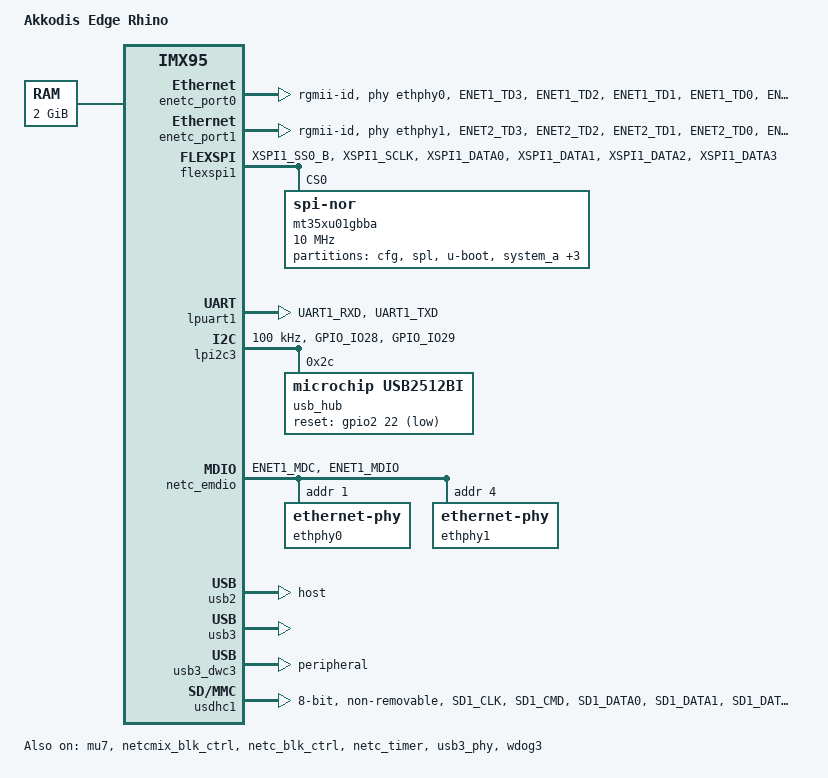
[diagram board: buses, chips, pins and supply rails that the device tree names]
// SPDX-License-Identifier: (GPL-2.0+ OR MIT)
/*
 * Copyright 2026 Akkodis Edge
 */

/dts-v1/;

#include "imx95.dtsi"

#define FALLING_EDGE			1
#define RISING_EDGE			2

#define BRD_SM_CTRL_SD3_WAKE		0x8000	/* PCAL6408A-0 */
#define BRD_SM_CTRL_PCIE1_WAKE		0x8001	/* PCAL6408A-4 */
#define BRD_SM_CTRL_BT_WAKE		0x8002	/* PCAL6408A-5 */
#define BRD_SM_CTRL_PCIE2_WAKE		0x8003	/* PCAL6408A-6 */
#define BRD_SM_CTRL_BUTTON		0x8004	/* PCAL6408A-7 */

/ {
	model = "Akkodis Edge Rhino";
	compatible = "ake,rhino", "fsl,imx95";

	chosen {
		stdout-path = &lpuart1;
	};

	memory@80000000 {
		device_type = "memory";
		reg = <0x0 0x80000000 0 0x80000000>;
	};
};

&enetc_port0 {
	pinctrl-names = "default";
	pinctrl-0 = <&pinctrl_enetc0>;
	phy-handle = <&ethphy0>;
	phy-mode = "rgmii-id";
	status = "okay";
};

&enetc_port1 {
	pinctrl-names = "default";
	pinctrl-0 = <&pinctrl_enetc1>;
	phy-handle = <&ethphy1>;
	phy-mode = "rgmii-id";
	status = "okay";
};

&flexspi1 {
	pinctrl-names = "default";
	pinctrl-0 = <&pinctrl_flexspi1>;
	status = "okay";

	mt35xu01gbba: flash@0 {
		reg = <0>;
		#address-cells = <1>;
		#size-cells = <1>;
		compatible = "jedec,spi-nor";

		spi-max-frequency = <10000000>;
		spi-tx-bus-width = <1>;
		spi-rx-bus-width = <1>;

		partitions {
			compatible = "fixed-partitions";
			#address-cells = <1>;
			#size-cells = <1>;

			cfg@0 {
				/*
				 * 0x0 OFTAD key blob
				 * 0x400 FlexSPI Config Block
				 */
				label = "cfg";
				reg = <0x000000 0x001000>;
			};
			spl@1000 {
				label = "spl";
				reg = <0x001000 0x1ff000>;
			};
			u-boot@200000 {
				label = "u-boot";
				reg = <0x200000 0x200000>;
			};
			system_a@400000 {
				label = "system_a";
				reg = <0x400000 0x010000>;
			};
			system_b@410000 {
				label = "system_b";
				reg = <0x410000 0x010000>;
			};
			user_a@420000 {
				label = "user_a";
				reg = <0x420000 0x010000>;
			};
			user_b@430000 {
				label = "user_b";
				reg = <0x430000 0x010000>;
			};
		};
	};
};

&lpuart1 {
	/* console */
	pinctrl-names = "default";
	pinctrl-0 = <&pinctrl_uart1>;
	status = "okay";
};

&lpi2c3 {
	clock-frequency = <100000>;
	pinctrl-names = "default";
	pinctrl-0 = <&pinctrl_lpi2c3>;
	status = "okay";

	usb_hub: usb2512bi@2c {
		reg = <0x2c>;
		compatible = "microchip,usb2512bi";
		pinctrl-names = "default";
		pinctrl-0 = <&pinctrl_hub>;
		reset-gpios = <&gpio2 22 GPIO_ACTIVE_LOW>;
	};
};

&mu7 {
	status = "okay";
};

&netcmix_blk_ctrl {
	status = "okay";
};

&netc_blk_ctrl {
	status = "okay";
};

&netc_emdio {
	pinctrl-names = "default";
	pinctrl-0 = <&pinctrl_emdio>;
	status = "okay";

	ethphy0: ethernet-phy@1 {
		reg = <1>;
		eee-broken-1000t;
		reset-assert-us = <10000>;
		reset-deassert-us = <80000>;
	};

	ethphy1: ethernet-phy@4 {
		reg = <4>;
		eee-broken-1000t;
		reset-assert-us = <10000>;
		reset-deassert-us = <80000>;
	};
};

&netc_timer {
	status = "okay";
};

&usb2 {
	dr_mode = "host";
	disable-over-current;
	status = "okay";
	/delete-property/power-domains;
};

&usb3 {
	status = "okay";
	/delete-property/power-domains;
};

&usb3_dwc3 {
	compatible = "fsl,imx95a-dwc3", "fsl,imx8mq-dwc3", "snps,dwc3";
	dr_mode = "peripheral";
	hnp-disable;
	srp-disable;
	adp-disable;
	usb-role-switch;
	role-switch-default-mode = "none";
	snps,dis-u1-entry-quirk;
	snps,dis-u2-entry-quirk;
	status = "okay";
};

&usb3_phy {
	fsl,phy-pcs-tx-deemph-3p5db-attenuation-db = <17>;
	fsl,phy-pcs-tx-swing-full-percent = <100>;
	fsl,phy-tx-preemp-amp-tune-microamp = <600>;
	fsl,phy-tx-vboost-level-microvolt = <1156>;
	fsl,phy-tx-vref-tune-percent = <100>;
	status = "okay";

};

&usdhc1 {
	pinctrl-names = "default", "state_100mhz", "state_200mhz", "sleep";
	pinctrl-0 = <&pinctrl_usdhc1>;
	pinctrl-1 = <&pinctrl_usdhc1_100mhz>;
	pinctrl-2 = <&pinctrl_usdhc1_200mhz>;
	pinctrl-3 = <&pinctrl_usdhc1>;
	bus-width = <8>;
	non-removable;
	no-sdio;
	no-sd;
	status = "okay";
};

&scmi_misc {
	nxp,ctrl-ids = <BRD_SM_CTRL_SD3_WAKE	FALLING_EDGE
			BRD_SM_CTRL_PCIE1_WAKE	FALLING_EDGE
			BRD_SM_CTRL_BT_WAKE	FALLING_EDGE
			BRD_SM_CTRL_PCIE2_WAKE	FALLING_EDGE
			BRD_SM_CTRL_BUTTON	FALLING_EDGE>;
};

&wdog3 {
	fsl,ext-reset-output;
	status = "okay";
};

&scmi_iomuxc {
	pinctrl_emdio: emdiogrp{
		fsl,pins = <
			IMX95_PAD_ENET1_MDC__NETCMIX_TOP_NETC_MDC		0x57e
			IMX95_PAD_ENET1_MDIO__NETCMIX_TOP_NETC_MDIO		0x97e
		>;
	};

	pinctrl_enetc0: enetc0grp {
		fsl,pins = <
			IMX95_PAD_ENET1_TD3__NETCMIX_TOP_ETH0_RGMII_TD3		0x57e
			IMX95_PAD_ENET1_TD2__NETCMIX_TOP_ETH0_RGMII_TD2		0x57e
			IMX95_PAD_ENET1_TD1__NETCMIX_TOP_ETH0_RGMII_TD1		0x57e
			IMX95_PAD_ENET1_TD0__NETCMIX_TOP_ETH0_RGMII_TD0		0x57e
			IMX95_PAD_ENET1_TX_CTL__NETCMIX_TOP_ETH0_RGMII_TX_CTL	0x57e
			IMX95_PAD_ENET1_TXC__NETCMIX_TOP_ETH0_RGMII_TX_CLK	0x5fe
			IMX95_PAD_ENET1_RX_CTL__NETCMIX_TOP_ETH0_RGMII_RX_CTL	0x57e
			IMX95_PAD_ENET1_RXC__NETCMIX_TOP_ETH0_RGMII_RX_CLK	0x5fe
			IMX95_PAD_ENET1_RD0__NETCMIX_TOP_ETH0_RGMII_RD0		0x57e
			IMX95_PAD_ENET1_RD1__NETCMIX_TOP_ETH0_RGMII_RD1		0x57e
			IMX95_PAD_ENET1_RD2__NETCMIX_TOP_ETH0_RGMII_RD2		0x57e
			IMX95_PAD_ENET1_RD3__NETCMIX_TOP_ETH0_RGMII_RD3		0x57e
		>;
	};

	pinctrl_enetc1: enetc1grp {
		fsl,pins = <
			IMX95_PAD_ENET2_TD3__NETCMIX_TOP_ETH1_RGMII_TD3		0x57e
			IMX95_PAD_ENET2_TD2__NETCMIX_TOP_ETH1_RGMII_TD2		0x57e
			IMX95_PAD_ENET2_TD1__NETCMIX_TOP_ETH1_RGMII_TD1		0x57e
			IMX95_PAD_ENET2_TD0__NETCMIX_TOP_ETH1_RGMII_TD0		0x57e
			IMX95_PAD_ENET2_TX_CTL__NETCMIX_TOP_ETH1_RGMII_TX_CTL	0x57e
			IMX95_PAD_ENET2_TXC__NETCMIX_TOP_ETH1_RGMII_TX_CLK	0x5fe
			IMX95_PAD_ENET2_RX_CTL__NETCMIX_TOP_ETH1_RGMII_RX_CTL	0x57e
			IMX95_PAD_ENET2_RXC__NETCMIX_TOP_ETH1_RGMII_RX_CLK	0x5fe
			IMX95_PAD_ENET2_RD0__NETCMIX_TOP_ETH1_RGMII_RD0		0x57e
			IMX95_PAD_ENET2_RD1__NETCMIX_TOP_ETH1_RGMII_RD1		0x57e
			IMX95_PAD_ENET2_RD2__NETCMIX_TOP_ETH1_RGMII_RD2		0x57e
			IMX95_PAD_ENET2_RD3__NETCMIX_TOP_ETH1_RGMII_RD3		0x57e
		>;
	};

	pinctrl_flexspi1: flexspi1grp {
		fsl,pins = <
			IMX95_PAD_XSPI1_SS0_B__FLEXSPI1_A_SS0_B			0x3fe
			IMX95_PAD_XSPI1_SCLK__FLEXSPI1_A_SCLK			0x3fe
			IMX95_PAD_XSPI1_DATA0__FLEXSPI1_A_DATA_BIT0		0x3fe
			IMX95_PAD_XSPI1_DATA1__FLEXSPI1_A_DATA_BIT1		0x3fe
			IMX95_PAD_XSPI1_DATA2__FLEXSPI1_A_DATA_BIT2		0x3fe
			IMX95_PAD_XSPI1_DATA3__FLEXSPI1_A_DATA_BIT3		0x3fe
		>;
	};

	pinctrl_uart1: uart1grp {
		fsl,pins = <
			IMX95_PAD_UART1_RXD__AONMIX_TOP_LPUART1_RX      0x31e
			IMX95_PAD_UART1_TXD__AONMIX_TOP_LPUART1_TX      0x31e
		>;
	};

	pinctrl_lpi2c3: lpi2c3grp {
		fsl,pins = <
			IMX95_PAD_GPIO_IO28__LPI2C3_SDA				0x40000b9e
			IMX95_PAD_GPIO_IO29__LPI2C3_SCL				0x40000b9e
		>;
	};

	pinctrl_hub: hubgrp {
		fsl,pins = <
			IMX95_PAD_GPIO_IO22__GPIO2_IO_BIT22	0x1fe /* HUB_RST_N */
		>;
	};

	pinctrl_usdhc1: usdhc1grp {
		fsl,pins = <
			IMX95_PAD_SD1_CLK__USDHC1_CLK			0x158e
			IMX95_PAD_SD1_CMD__USDHC1_CMD			0x138e
			IMX95_PAD_SD1_DATA0__USDHC1_DATA0		0x138e
			IMX95_PAD_SD1_DATA1__USDHC1_DATA1		0x138e
			IMX95_PAD_SD1_DATA2__USDHC1_DATA2		0x138e
			IMX95_PAD_SD1_DATA3__USDHC1_DATA3		0x138e
			IMX95_PAD_SD1_DATA4__USDHC1_DATA4		0x138e
			IMX95_PAD_SD1_DATA5__USDHC1_DATA5		0x138e
			IMX95_PAD_SD1_DATA6__USDHC1_DATA6		0x138e
			IMX95_PAD_SD1_DATA7__USDHC1_DATA7		0x138e
			IMX95_PAD_SD1_STROBE__USDHC1_STROBE		0x158e
		>;
	};

	pinctrl_usdhc1_100mhz: usdhc1-100mhzgrp {
		fsl,pins = <
			IMX95_PAD_SD1_CLK__USDHC1_CLK			0x158e
			IMX95_PAD_SD1_CMD__USDHC1_CMD			0x138e
			IMX95_PAD_SD1_DATA0__USDHC1_DATA0		0x138e
			IMX95_PAD_SD1_DATA1__USDHC1_DATA1		0x138e
			IMX95_PAD_SD1_DATA2__USDHC1_DATA2		0x138e
			IMX95_PAD_SD1_DATA3__USDHC1_DATA3		0x138e
			IMX95_PAD_SD1_DATA4__USDHC1_DATA4		0x138e
			IMX95_PAD_SD1_DATA5__USDHC1_DATA5		0x138e
			IMX95_PAD_SD1_DATA6__USDHC1_DATA6		0x138e
			IMX95_PAD_SD1_DATA7__USDHC1_DATA7		0x138e
			IMX95_PAD_SD1_STROBE__USDHC1_STROBE		0x158e
		>;
	};

	pinctrl_usdhc1_200mhz: usdhc1-200mhzgrp {
		fsl,pins = <
			IMX95_PAD_SD1_CLK__USDHC1_CLK			0x15fe
			IMX95_PAD_SD1_CMD__USDHC1_CMD			0x13fe
			IMX95_PAD_SD1_DATA0__USDHC1_DATA0		0x13fe
			IMX95_PAD_SD1_DATA1__USDHC1_DATA1		0x13fe
			IMX95_PAD_SD1_DATA2__USDHC1_DATA2		0x13fe
			IMX95_PAD_SD1_DATA3__USDHC1_DATA3		0x13fe
			IMX95_PAD_SD1_DATA4__USDHC1_DATA4		0x13fe
			IMX95_PAD_SD1_DATA5__USDHC1_DATA5		0x13fe
			IMX95_PAD_SD1_DATA6__USDHC1_DATA6		0x13fe
			IMX95_PAD_SD1_DATA7__USDHC1_DATA7		0x13fe
			IMX95_PAD_SD1_STROBE__USDHC1_STROBE		0x15fe
		>;
	};
};
